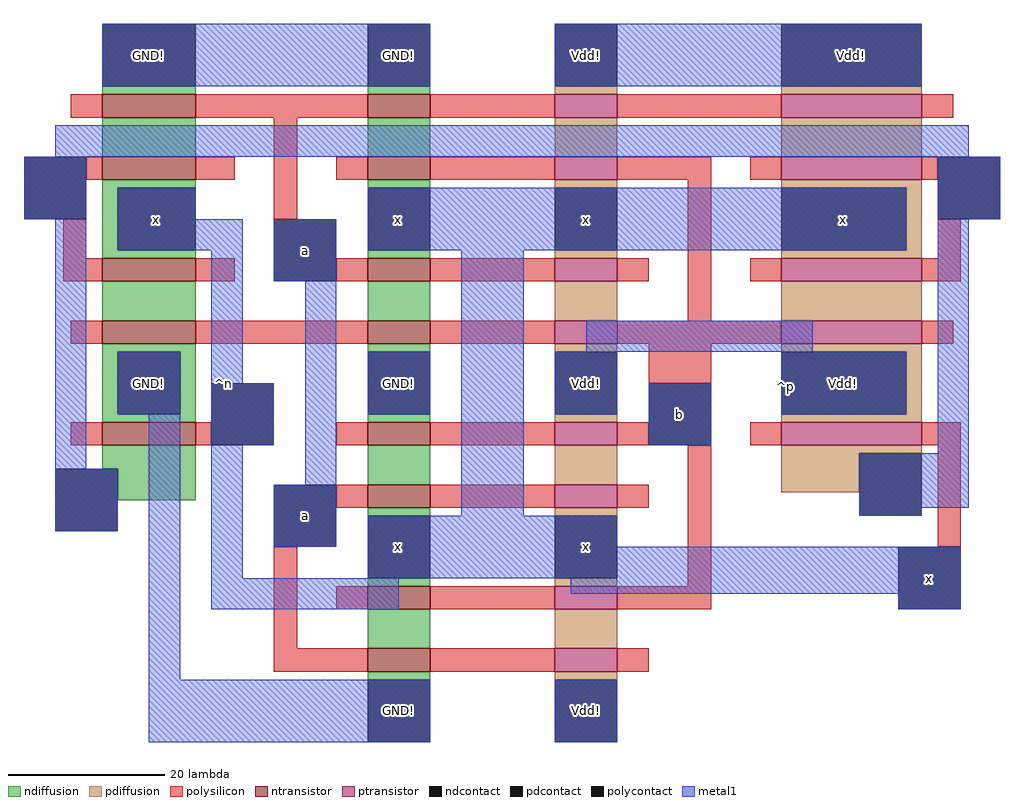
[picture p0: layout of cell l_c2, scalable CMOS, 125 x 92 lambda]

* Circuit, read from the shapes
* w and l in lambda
.subckt l_c2 GND! Vdd! a b x
M1 GND! x n1 VSUBS nfet w=12 l=3
M2 n2 b GND! VSUBS nfet w=12 l=3
M3 x n1 n2 VSUBS nfet w=12 l=3
M4 n3 n1 x VSUBS nfet w=12 l=3
M5 GND! a n3 VSUBS nfet w=12 l=3
M6 n4 a GND! VSUBS nfet w=8 l=3
M7 x b n4 VSUBS nfet w=8 l=3
M8 n5 a x VSUBS nfet w=8 l=3
M9 GND! b n5 VSUBS nfet w=8 l=3
M10 n6 b GND! VSUBS nfet w=8 l=3
M11 x a n6 VSUBS nfet w=8 l=3
M12 n7 b x VSUBS nfet w=8 l=3
M13 GND! a n7 VSUBS nfet w=8 l=3
M14 n8 a Vdd! NWELL pfet w=8 l=3
M15 x b n8 NWELL pfet w=8 l=3
M16 n9 a x NWELL pfet w=8 l=3
M17 Vdd! b n9 NWELL pfet w=8 l=3
M18 n10 b Vdd! NWELL pfet w=8 l=3
M19 x a n10 NWELL pfet w=8 l=3
M20 n11 b x NWELL pfet w=8 l=3
M21 Vdd! a n11 NWELL pfet w=8 l=3
M22 Vdd! x n1 NWELL pfet w=18 l=3
M23 n12 b Vdd! NWELL pfet w=18 l=3
M24 x n1 n12 NWELL pfet w=18 l=3
M25 n13 n1 x NWELL pfet w=18 l=3
M26 Vdd! a n13 NWELL pfet w=18 l=3
.ends

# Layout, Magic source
magic
tech scmos
<< ndiffusion >>
rect -33 70 -21 71
rect 1 70 9 71
rect -33 62 -21 67
rect -33 58 -21 59
rect -33 50 -31 58
rect -33 49 -21 50
rect 1 62 9 67
rect 1 58 9 59
rect 1 49 9 50
rect -33 41 -21 46
rect 1 41 9 46
rect -33 37 -21 38
rect -33 29 -31 37
rect -23 29 -21 37
rect 1 37 9 38
rect -33 28 -21 29
rect 1 28 9 29
rect -33 22 -21 25
rect -31 18 -21 22
rect 1 20 9 25
rect 1 16 9 17
rect 1 7 9 8
rect 1 -1 9 4
rect 1 -5 9 -4
<< pdiffusion >>
rect 25 70 33 71
rect 54 70 72 71
rect 25 62 33 67
rect 54 62 72 67
rect 25 58 33 59
rect 25 49 33 50
rect 25 41 33 46
rect 54 58 72 59
rect 70 50 72 58
rect 54 49 72 50
rect 54 41 72 46
rect 25 37 33 38
rect 25 28 33 29
rect 54 37 72 38
rect 70 29 72 37
rect 54 28 72 29
rect 25 20 33 25
rect 25 16 33 17
rect 25 7 33 8
rect 54 24 72 25
rect 54 19 64 24
rect 25 -1 33 4
rect 25 -5 33 -4
<< ntransistor >>
rect -33 67 -21 70
rect 1 67 9 70
rect -33 59 -21 62
rect 1 59 9 62
rect -33 46 -21 49
rect 1 46 9 49
rect -33 38 -21 41
rect 1 38 9 41
rect -33 25 -21 28
rect 1 25 9 28
rect 1 17 9 20
rect 1 4 9 7
rect 1 -4 9 -1
<< ptransistor >>
rect 25 67 33 70
rect 54 67 72 70
rect 25 59 33 62
rect 54 59 72 62
rect 25 46 33 49
rect 54 46 72 49
rect 25 38 33 41
rect 54 38 72 41
rect 25 25 33 28
rect 54 25 72 28
rect 25 17 33 20
rect 25 4 33 7
rect 25 -4 33 -1
<< polysilicon >>
rect -37 67 -33 70
rect -21 67 1 70
rect 9 67 25 70
rect 33 67 54 70
rect 72 67 76 70
rect -35 59 -33 62
rect -21 59 -16 62
rect -38 49 -35 54
rect -11 54 -8 67
rect -3 59 1 62
rect 9 59 25 62
rect 33 59 45 62
rect 50 59 54 62
rect 72 59 74 62
rect -38 46 -33 49
rect -21 46 -16 49
rect -3 46 1 49
rect 9 46 25 49
rect 33 46 37 49
rect 42 41 45 59
rect 74 49 77 54
rect 50 46 54 49
rect 72 46 77 49
rect -37 38 -33 41
rect -21 38 1 41
rect 9 38 25 41
rect 33 38 54 41
rect 72 38 76 41
rect -37 25 -33 28
rect -21 25 -19 28
rect 37 33 45 38
rect -3 25 1 28
rect 9 25 25 28
rect 33 25 37 28
rect 50 25 54 28
rect 72 25 77 28
rect -3 17 1 20
rect 9 17 25 20
rect 33 17 37 20
rect -11 -1 -8 12
rect 42 7 45 25
rect 74 12 77 25
rect -3 4 1 7
rect 9 4 25 7
rect 33 4 45 7
rect -11 -4 1 -1
rect 9 -4 25 -1
rect 33 -4 37 -1
<< ndcontact >>
rect -33 71 -21 79
rect 1 71 9 79
rect -31 50 -21 58
rect 1 50 9 58
rect -31 29 -23 37
rect 1 29 9 37
rect -39 14 -31 22
rect 1 8 9 16
rect 1 -13 9 -5
<< pdcontact >>
rect 25 71 33 79
rect 54 71 72 79
rect 25 50 33 58
rect 54 50 70 58
rect 25 29 33 37
rect 54 29 70 37
rect 25 8 33 16
rect 64 16 72 24
rect 25 -13 33 -5
<< polycontact >>
rect -43 54 -35 62
rect -11 46 -3 54
rect 74 54 82 62
rect -19 25 -11 33
rect 37 25 45 33
rect -11 12 -3 20
rect 69 4 77 12
<< metal1 >>
rect -33 71 9 79
rect 25 71 72 79
rect -39 62 78 66
rect -43 54 -35 62
rect -39 22 -35 54
rect -31 54 -21 58
rect -31 50 -15 54
rect -31 29 -23 37
rect -39 14 -31 22
rect -27 -5 -23 29
rect -19 33 -15 50
rect -11 46 -3 54
rect 1 50 70 58
rect 74 54 82 62
rect -19 25 -11 33
rect -19 8 -15 25
rect -7 20 -3 46
rect 1 29 9 37
rect -11 12 -3 20
rect 13 16 21 50
rect 29 37 58 41
rect 25 29 33 37
rect 37 25 45 33
rect 54 29 70 37
rect 74 24 78 54
rect 64 17 78 24
rect 64 16 72 17
rect 1 12 33 16
rect 1 8 77 12
rect -19 4 5 8
rect 27 6 77 8
rect 69 4 77 6
rect -27 -13 9 -5
rect 25 -13 33 -5
<< labels >>
rlabel metal1 5 54 5 54 1 x
rlabel metal1 5 75 5 75 5 GND!
rlabel metal1 29 54 29 54 1 x
rlabel metal1 29 75 29 75 5 Vdd!
rlabel metal1 29 33 29 33 1 Vdd!
rlabel metal1 5 12 5 12 1 x
rlabel metal1 29 12 29 12 1 x
rlabel metal1 5 -9 5 -9 1 GND!
rlabel metal1 29 -9 29 -9 1 Vdd!
rlabel metal1 5 33 5 33 1 GND!
rlabel metal1 63 75 63 75 5 Vdd!
rlabel metal1 62 54 62 54 5 x
rlabel metal1 62 33 62 33 1 Vdd!
rlabel metal1 41 29 41 29 1 b
rlabel space -43 -14 8 80 7 ^n
rlabel space 26 -15 83 80 3 ^p
rlabel metal1 -7 16 -7 16 1 a
rlabel metal1 -7 50 -7 50 1 a
rlabel metal1 -26 54 -26 54 1 x
rlabel metal1 -27 75 -27 75 5 GND!
rlabel metal1 -27 33 -27 33 1 GND!
rlabel metal1 73 8 73 8 1 x
<< end >>
